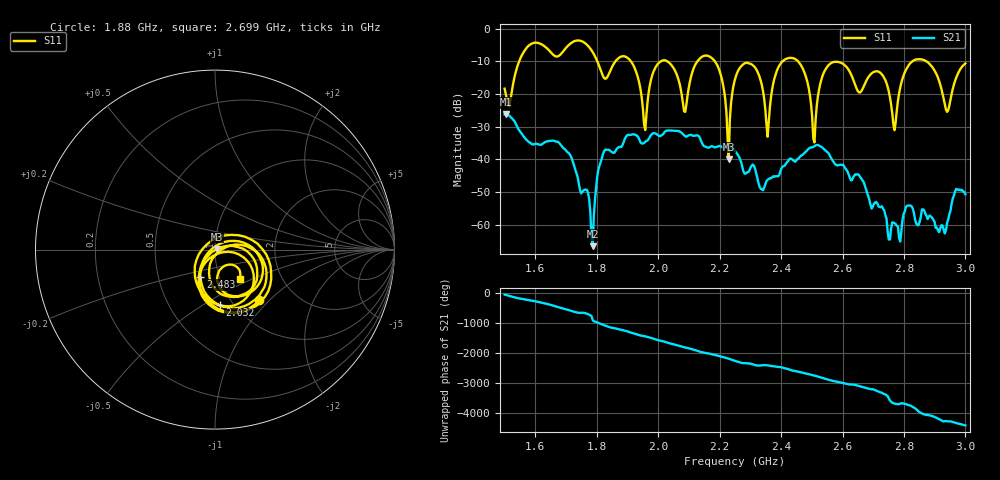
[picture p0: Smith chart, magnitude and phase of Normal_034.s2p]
# HZ S RI R 50
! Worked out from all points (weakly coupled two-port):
!   404 points, 1.5 GHz to 3 GHz, reference 50 ohm
!   highest |S21| = -26.21 dB at 1.504 GHz (marker M1); lowest = -66.6 dB at 1.787 GHz (marker M2)
!   lowest |S11| = -39.9 dB at 2.23 GHz (marker M3), VSWR 1.02, Z = 51 + j0.318 ohm
!   |S11| at or under -10 dB: 2.184 GHz to 2.405 GHz (220.3 MHz wide, 9.6 % of centre); 2.455 GHz to 2.827 GHz (371.9 MHz wide, 14.1 % of centre); 2.873 GHz to end of sweep (the widest 3 of 7)
!   S12 and S22 are empty: the file has one direction only
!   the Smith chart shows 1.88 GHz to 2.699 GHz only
!   S11 on the Smith chart (normalised r, x): 1.88 GHz: 1.33, -0.87; 2.032 GHz: 0.86, -0.59; 2.483 GHz: 0.81, -0.25; 2.699 GHz: 1.23, -0.43
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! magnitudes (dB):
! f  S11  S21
! 1.5 GHz  -18.4  -26.3
! 1.504 GHz  -19.9  -26.2
! 1.753 GHz  -3.9  -49.9
! 1.787 GHz  -7.2  -66.6
! 1.82 GHz  -14.5  -38.4
! 1.88 GHz  -8.5  -36.2
! 1.958 GHz  -31.0  -34.6
! 2.002 GHz  -10.4  -32.8
! 2.032 GHz  -10.2  -31.1
! 2.088 GHz  -25.5  -32.9
! 2.177 GHz  -9.2  -36.1
! 2.23 GHz  -39.9  -36.1
! 2.252 GHz  -14.9  -37.7
! 2.356 GHz  -33.1  -46.2
! 2.404 GHz  -10.0  -42.3
! 2.483 GHz  -15.3  -37.5
! 2.501 GHz  -27.0  -36.3
! 2.561 GHz  -10.6  -39.3
! 2.699 GHz  -13.4  -54.5
! 2.751 GHz  -19.2  -64.5
! 2.94 GHz  -25.4  -59.4
! 3 GHz  -10.6  -50.7
